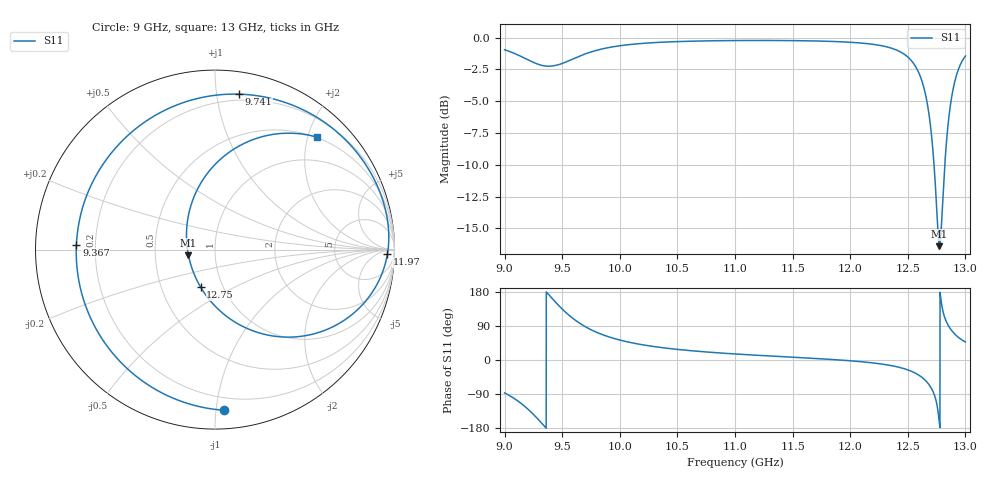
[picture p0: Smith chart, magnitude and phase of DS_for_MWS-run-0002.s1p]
! TOUCHSTONE file generated by CST DESIGN STUDIO
! Date and time: Tue Feb  4 18:25:09 2025
! Project name: C:\Work\MatlabApps\UnitCellOptimizationMatlab\CST\unitcell.cst
! Tree item: Tasks\Sweep1\SPara1\S-Parameters
! Header version: 2024
! Port assignment regex: !\s*Touchstone port\s*([0-9]+)\s*=\s*(CST MWS port|CST DES external port|CST DES block port)\s*(.+)\s* \(\"(.*)\"\)(\s*mode\s*([0-9]+))?.*
! Touchstone port assignment:
! Touchstone port 1 = CST DES external port 1 ("")
# GHz S MA R 50
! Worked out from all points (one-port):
!   4001 points, 9 GHz to 13 GHz, reference 50 ohm
!   lowest |S11| = -16.4 dB at 12.78 GHz (marker M1), VSWR 1.36, Z = 37.1 - j2.43 ohm
!   |S11| at or under -10 dB: 12.73 GHz to 12.82 GHz (93.33 MHz wide, 0.731 % of centre)
!   S11 on the Smith chart (normalised r, x): 9 GHz: 0.12, -1.05; 9.367 GHz: 0.13, +0.02; 9.741 GHz: 0.15, +1.15; 11.97 GHz: 36, -23; 12.75 GHz: 0.79, -0.35; 13 GHz: 0.49, +2.17
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9  0.8965 -86.8
9.098  0.8622 -104.6
9.184  0.8265 -124.8
9.285  0.7879 -154.5
9.367  0.7726 178.0
9.429  0.7761 156.9
9.5  0.792 134.5
9.61  0.8317 105.8
9.741  0.8763 81.3
10  0.9297 52.7
10.216  0.9512 39.2
10.5  0.9654 28.0
11  0.9746 15.9
11.5  0.9739 7.4
11.974  0.9611 -1.4
12  0.9596 -2.0
12.317  0.9204 -12.7
12.5  0.8396 -26.1
12.585  0.745 -38.0
12.659  0.5826 -55.8
12.708  0.4045 -76.5
12.748  0.2244 -110.8
12.775  0.1513 -167.8
12.791  0.1796 152.3
12.82  0.3108 112.7
12.878  0.5737 78.9
12.928  0.725 62.6
13  0.8471 47.6
